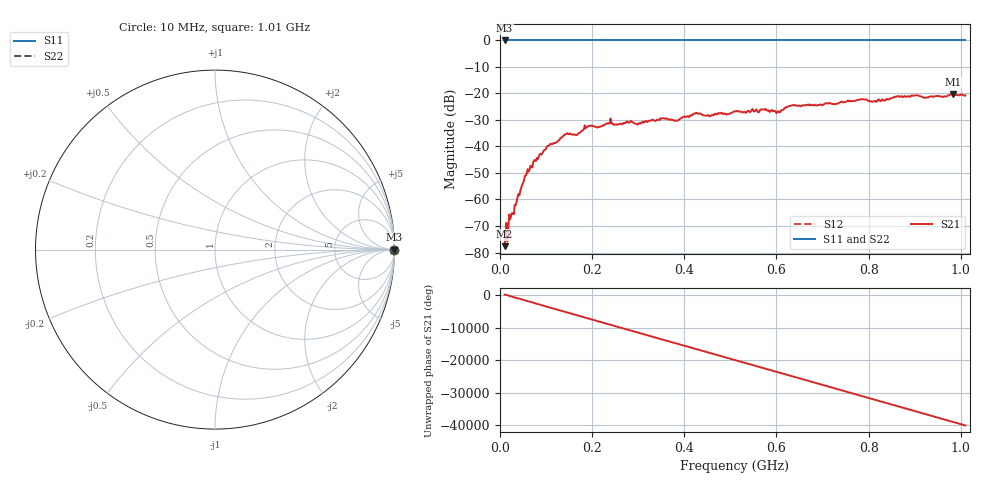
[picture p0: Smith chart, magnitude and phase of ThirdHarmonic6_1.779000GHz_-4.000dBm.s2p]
! 8/16/2025 9:29:58 PM
! C:\ANRITSUVNA\TEMP\TEMP.S2P
! CHANNEL.1
! TR.MEASUREMENT
! RAW.DATA
! RF.CORRECTION.OFF
! AVERAGING.OFF
! IF.BANDWIDTH: 5KHZ
! SWEEPTYPE:  FREQ.SWEEP(Linear)
! Reference Plane Port Info
! PORT:  PORT1  PORT2
! DISTANCE:  0  m  0  m
! TIME:  0  s  0  s
! PHASE.OFFSET:  0  deg.  0  deg.
! LOSS:  0  dB  0  dB
! REF.LOSS:  0  dB  0  dB
! REF.FREQ:  0  Hz  0  Hz
! Power Info
! POWER:  -20  dBm  -20  dBm
! EFF.POWER:  -20  dBm  -20  dBm
! SOURCE.ATTEN:  0  dB  0  dB
! TEST.ATTEN:  0  dB  0  dB
# GHZ S RI R 50.0
! FREQ.GHZ  S11RE  S11IM  S21RE  S21IM  S12RE  S12IM  S22RE  S22IM
!; PortSelection: Port_12
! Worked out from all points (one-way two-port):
!   501 points, 10 MHz to 1.01 GHz, reference 50 ohm
!   highest |S21| = -20.26 dB at 984 MHz (marker M1); lowest = -77.6 dB at 10 MHz (marker M2)
!   lowest |S11| = 0.0 dB at 10 MHz (marker M3)
!   |S11| at or under -10 dB: nowhere
!   |S22| runs from 0.0 to 0.0 dB; largest |S21 - S12| = 1.1
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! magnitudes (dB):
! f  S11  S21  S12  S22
! 10 MHz  0.0  -77.6  0.0  0.0
! 12 MHz  0.0  -74.5  0.0  0.0
! 22 MHz  0.0  -67.5  0.0  0.0
! 56 MHz  0.0  -51.0  0.0  0.0
! 76 MHz  0.0  -45.2  0.0  0.0
! 106 MHz  0.0  -39.7  0.0  0.0
! 142 MHz  0.0  -35.5  0.0  0.0
! 178 MHz  0.0  -34.1  0.0  0.0
! 188 MHz  0.0  -32.8  0.0  0.0
! 236 MHz  0.0  -31.3  0.0  0.0
! 296 MHz  0.0  -31.4  0.0  0.0
! 344 MHz  0.0  -30.0  0.0  0.0
! 382 MHz  0.0  -30.2  0.0  0.0
! 424 MHz  0.0  -27.5  0.0  0.0
! 454 MHz  0.0  -28.5  0.0  0.0
! 510 MHz  0.0  -26.7  0.0  0.0
! 604 MHz  0.0  -26.7  0.0  0.0
! 632 MHz  0.0  -24.5  0.0  0.0
! 678 MHz  0.0  -24.4  0.0  0.0
! 844 MHz  0.0  -22.3  0.0  0.0
! 984 MHz  0.0  -20.3  0.0  0.0
! 1.01 GHz  0.0  -20.7  0.0  0.0
